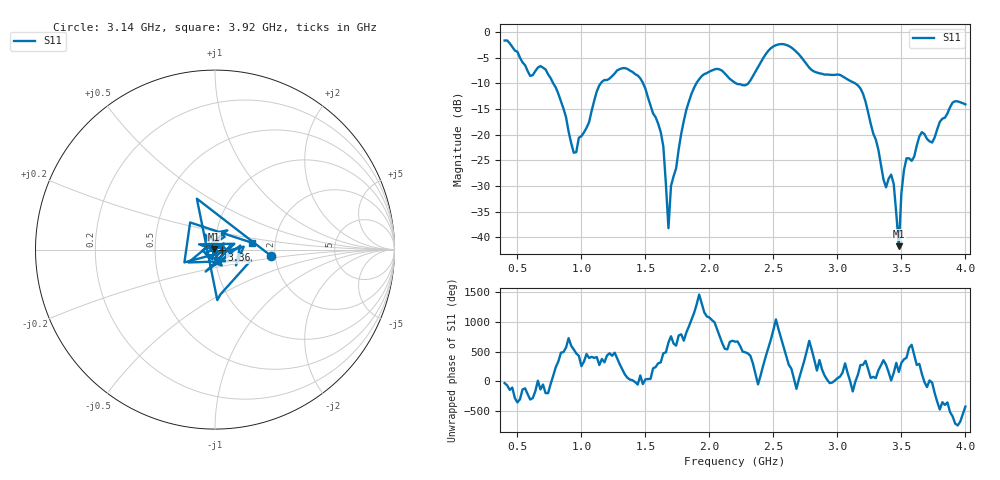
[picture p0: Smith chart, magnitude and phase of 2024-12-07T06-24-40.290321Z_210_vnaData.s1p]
!Created with skrf (http://scikit-rf.org).
# Hz S RI R 50.0
!freq ReS11 ImS11
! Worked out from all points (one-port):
!   181 points, 400 MHz to 4 GHz, reference 50 ohm
!   lowest |S11| = -41.7 dB at 3.48 GHz (marker M1), VSWR 1.02, Z = 49.3 + j0.34 ohm
!   |S11| at or under -10 dB: 779.6 MHz to 1.152 GHz (372.3 MHz wide, 38.6 % of centre); 1.482 GHz to 1.898 GHz (416.5 MHz wide, 24.6 % of centre); 3.138 GHz to end of sweep (the widest 3 of 4)
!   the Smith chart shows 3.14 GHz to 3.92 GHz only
!   S11 on the Smith chart (normalised r, x): 3.14 GHz: 1.90, -0.15; 3.36 GHz: 1.08, -0.01; 3.92 GHz: 1.52, +0.12
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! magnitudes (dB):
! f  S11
! 400 MHz  -1.7
! 600 MHz  -8.6
! 720 MHz  -7.3
! 860 MHz  -14.9
! 960 MHz  -23.4
! 1.14 GHz  -10.4
! 1.3 GHz  -7.2
! 1.46 GHz  -9.0
! 1.62 GHz  -19.5
! 1.64 GHz  -22.3
! 1.68 GHz  -38.2
! 1.7 GHz  -30.0
! 1.76 GHz  -22.9
! 1.82 GHz  -15.1
! 1.94 GHz  -8.6
! 2.2 GHz  -9.9
! 2.66 GHz  -3.4
! 3.1 GHz  -9.5
! 3.14 GHz  -10.0
! 3.22 GHz  -13.6
! 3.36 GHz  -28.8
! 3.44 GHz  -29.6
! 3.48 GHz  -41.7
! 3.5 GHz  -31.4
! 3.52 GHz  -26.9
! 3.56 GHz  -24.6
! 3.92 GHz  -13.5
! 4 GHz  -14.1
